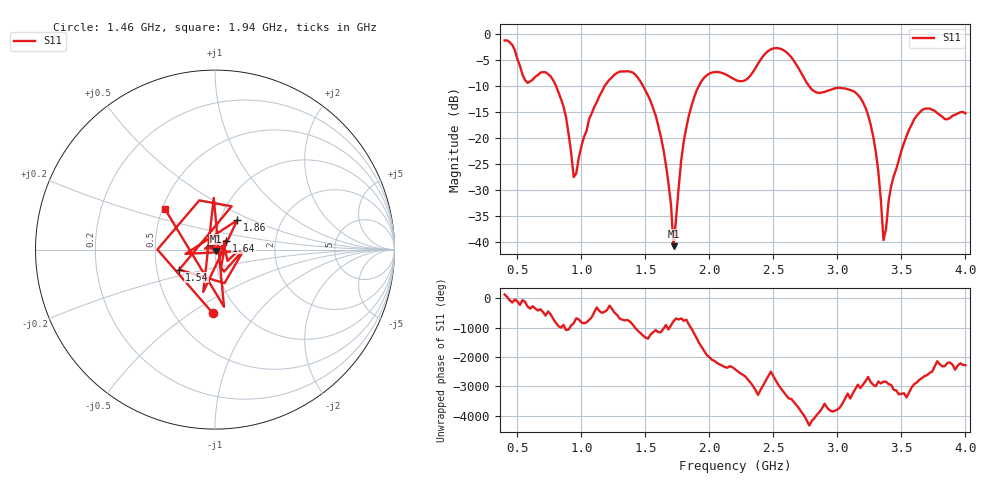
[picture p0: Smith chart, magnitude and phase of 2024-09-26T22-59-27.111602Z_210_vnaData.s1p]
!Created with skrf (http://scikit-rf.org).
# Hz S RI R 50.0
!freq ReS11 ImS11
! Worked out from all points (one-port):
!   181 points, 400 MHz to 4 GHz, reference 50 ohm
!   lowest |S11| = -40.7 dB at 1.72 GHz (marker M1), VSWR 1.02, Z = 50.5 - j0.745 ohm
!   |S11| at or under -10 dB: 802.8 MHz to 1.18 GHz (377.3 MHz wide, 38.1 % of centre); 1.483 GHz to 1.917 GHz (434 MHz wide, 25.5 % of centre); 2.78 GHz to end of sweep
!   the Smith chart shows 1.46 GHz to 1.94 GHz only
!   S11 on the Smith chart (normalised r, x): 1.46 GHz: 0.76, -0.61; 1.54 GHz: 0.65, -0.15; 1.64 GHz: 1.12, +0.11; 1.86 GHz: 1.21, +0.41; 1.94 GHz: 0.52, +0.27
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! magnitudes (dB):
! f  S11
! 400 MHz  -1.2
! 580 MHz  -9.4
! 720 MHz  -7.3
! 860 MHz  -13.9
! 940 MHz  -27.5
! 1.1 GHz  -14.0
! 1.3 GHz  -7.2
! 1.46 GHz  -9.0
! 1.54 GHz  -12.8
! 1.64 GHz  -22.0
! 1.7 GHz  -32.7
! 1.72 GHz  -40.7
! 1.76 GHz  -29.4
! 1.8 GHz  -20.5
! 1.86 GHz  -13.8
! 1.94 GHz  -9.0
! 2.2 GHz  -8.7
! 2.5 GHz  -2.7
! 2.66 GHz  -5.1
! 2.82 GHz  -11.0
! 3.1 GHz  -10.7
! 3.26 GHz  -17.4
! 3.32 GHz  -26.4
! 3.36 GHz  -39.6
! 3.42 GHz  -29.2
! 3.56 GHz  -18.4
! 3.68 GHz  -14.3
! 4 GHz  -15.2
